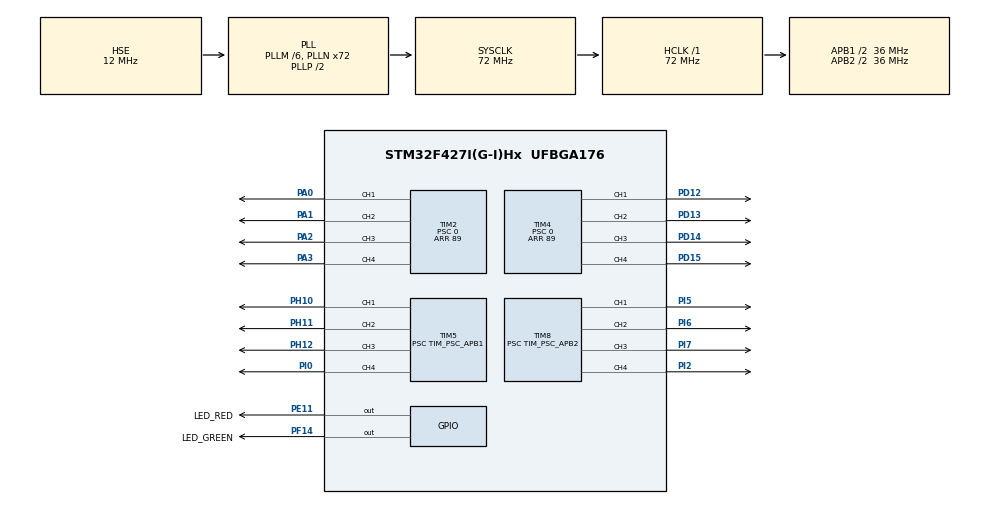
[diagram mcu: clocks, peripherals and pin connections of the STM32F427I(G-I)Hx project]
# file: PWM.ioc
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Dma.Request0=TIM2_CH1
Dma.Request1=TIM2_CH2/CH4
Dma.Request2=TIM2_UP/CH3
Dma.Request3=TIM4_CH1
Dma.Request4=TIM4_CH2
Dma.Request5=TIM4_CH3
Dma.TIM2_CH1.0.Direction=DMA_MEMORY_TO_PERIPH
Dma.TIM2_CH1.0.FIFOMode=DMA_FIFOMODE_DISABLE
Dma.TIM2_CH1.0.Instance=DMA1_Stream5
Dma.TIM2_CH1.0.MemDataAlignment=DMA_MDATAALIGN_WORD
Dma.TIM2_CH1.0.MemInc=DMA_MINC_ENABLE
Dma.TIM2_CH1.0.Mode=DMA_NORMAL
Dma.TIM2_CH1.0.PeriphDataAlignment=DMA_PDATAALIGN_WORD
Dma.TIM2_CH1.0.PeriphInc=DMA_PINC_DISABLE
Dma.TIM2_CH1.0.Priority=DMA_PRIORITY_HIGH
Dma.TIM2_CH2/CH4.1.Direction=DMA_MEMORY_TO_PERIPH
Dma.TIM2_CH2/CH4.1.FIFOMode=DMA_FIFOMODE_DISABLE
Dma.TIM2_CH2/CH4.1.Instance=DMA1_Stream6
Dma.TIM2_CH2/CH4.1.MemDataAlignment=DMA_MDATAALIGN_WORD
Dma.TIM2_CH2/CH4.1.MemInc=DMA_MINC_ENABLE
Dma.TIM2_CH2/CH4.1.Mode=DMA_NORMAL
Dma.TIM2_CH2/CH4.1.PeriphDataAlignment=DMA_PDATAALIGN_WORD
Dma.TIM2_CH2/CH4.1.PeriphInc=DMA_PINC_DISABLE
Dma.TIM2_CH2/CH4.1.Priority=DMA_PRIORITY_HIGH
Dma.TIM2_UP/CH3.2.Direction=DMA_MEMORY_TO_PERIPH
Dma.TIM2_UP/CH3.2.FIFOMode=DMA_FIFOMODE_DISABLE
Dma.TIM2_UP/CH3.2.Instance=DMA1_Stream1
Dma.TIM2_UP/CH3.2.MemDataAlignment=DMA_MDATAALIGN_WORD
Dma.TIM2_UP/CH3.2.MemInc=DMA_MINC_ENABLE
Dma.TIM2_UP/CH3.2.Mode=DMA_NORMAL
Dma.TIM2_UP/CH3.2.PeriphDataAlignment=DMA_PDATAALIGN_WORD
Dma.TIM2_UP/CH3.2.PeriphInc=DMA_PINC_DISABLE
Dma.TIM2_UP/CH3.2.Priority=DMA_PRIORITY_HIGH
Dma.TIM4_CH1.3.Direction=DMA_MEMORY_TO_PERIPH
Dma.TIM4_CH1.3.FIFOMode=DMA_FIFOMODE_DISABLE
Dma.TIM4_CH1.3.Instance=DMA1_Stream0
Dma.TIM4_CH1.3.MemDataAlignment=DMA_MDATAALIGN_WORD
Dma.TIM4_CH1.3.MemInc=DMA_MINC_ENABLE
Dma.TIM4_CH1.3.Mode=DMA_NORMAL
Dma.TIM4_CH1.3.PeriphDataAlignment=DMA_PDATAALIGN_WORD
Dma.TIM4_CH1.3.PeriphInc=DMA_PINC_DISABLE
Dma.TIM4_CH1.3.Priority=DMA_PRIORITY_LOW
Dma.TIM4_CH2.4.Direction=DMA_MEMORY_TO_PERIPH
Dma.TIM4_CH2.4.FIFOMode=DMA_FIFOMODE_DISABLE
Dma.TIM4_CH2.4.Instance=DMA1_Stream3
Dma.TIM4_CH2.4.MemDataAlignment=DMA_MDATAALIGN_WORD
Dma.TIM4_CH2.4.MemInc=DMA_MINC_ENABLE
Dma.TIM4_CH2.4.Mode=DMA_NORMAL
Dma.TIM4_CH2.4.PeriphDataAlignment=DMA_PDATAALIGN_WORD
Dma.TIM4_CH2.4.PeriphInc=DMA_PINC_DISABLE
Dma.TIM4_CH2.4.Priority=DMA_PRIORITY_LOW
Dma.TIM4_CH3.5.Direction=DMA_MEMORY_TO_PERIPH
Dma.TIM4_CH3.5.FIFOMode=DMA_FIFOMODE_DISABLE
Dma.TIM4_CH3.5.Instance=DMA1_Stream7
Dma.TIM4_CH3.5.MemDataAlignment=DMA_MDATAALIGN_WORD
Dma.TIM4_CH3.5.MemInc=DMA_MINC_ENABLE
Dma.TIM4_CH3.5.Mode=DMA_NORMAL
Dma.TIM4_CH3.5.PeriphDataAlignment=DMA_PDATAALIGN_WORD
Dma.TIM4_CH3.5.PeriphInc=DMA_PINC_DISABLE
Dma.TIM4_CH3.5.Priority=DMA_PRIORITY_LOW
Mcu.Family=STM32F4
Mcu.Name=STM32F427I(G-I)Hx
Mcu.Package=UFBGA176
Mcu.UserConstants=TIM_PSC_APB1,((APB1_TIMER_CLOCKS/PWM_FREQUENCE)/PWM_RESOLUTION -1);PWM_FREQUENCE,50;PWM_RESOLUTION,10000;APB1_TIMER_CLOCKS,84000000;PWM_DEFAULT_DUTY,5000;TIM_PSC_APB2,((APB2_TIMER_CLOCKS/PWM_FREQUENCE)/PWM_RESOLUTION -1);APB2_TIMER_CLOCKS,168000000
NVIC.DMA1_Stream0_IRQn=true\:0\:0\:false\:false\:true\:false\:true
NVIC.DMA1_Stream1_IRQn=true\:0\:0\:false\:false\:true\:false\:true
NVIC.DMA1_Stream3_IRQn=true\:0\:0\:false\:false\:true\:false\:true
NVIC.DMA1_Stream5_IRQn=true\:0\:0\:false\:false\:true\:false\:true
NVIC.DMA1_Stream6_IRQn=true\:0\:0\:false\:false\:true\:false\:true
NVIC.DMA1_Stream7_IRQn=true\:0\:0\:false\:false\:true\:false\:true
NVIC.PriorityGroup=NVIC_PRIORITYGROUP_4
PA0/WKUP.Signal=S_TIM2_CH1_ETR
PA1.Signal=S_TIM2_CH2
PA2.Signal=S_TIM2_CH3
PA3.Signal=S_TIM2_CH4
PD12.Signal=S_TIM4_CH1
PD13.Signal=S_TIM4_CH2
PD14.Signal=S_TIM4_CH3
PD15.Signal=S_TIM4_CH4
PE11.GPIO_Label=LED_RED
PE11.Signal=GPIO_Output
PF14.GPIO_Label=LED_GREEN
PF14.Signal=GPIO_Output
PH0/OSC_IN.Mode=HSE-External-Oscillator
PH0/OSC_IN.Signal=RCC_OSC_IN
PH1/OSC_OUT.Mode=HSE-External-Oscillator
PH1/OSC_OUT.Signal=RCC_OSC_OUT
PH10.Signal=S_TIM5_CH1
PH11.Signal=S_TIM5_CH2
PH12.Signal=S_TIM5_CH3
PI0.Signal=S_TIM5_CH4
PI2.Signal=S_TIM8_CH4
PI5.Signal=S_TIM8_CH1
PI6.Signal=S_TIM8_CH2
PI7.Signal=S_TIM8_CH3
ProjectManager.HeapSize=0x200
ProjectManager.StackSize=0x400
ProjectManager.TargetToolchain=MDK-ARM V5
RCC.48MHZClocksFreq_Value=36000000
RCC.AHBFreq_Value=72000000
RCC.APB1CLKDivider=RCC_HCLK_DIV2
RCC.APB1Freq_Value=36000000
RCC.APB1TimFreq_Value=72000000
RCC.APB2CLKDivider=RCC_HCLK_DIV2
RCC.APB2Freq_Value=36000000
RCC.APB2TimFreq_Value=72000000
RCC.CortexFreq_Value=72000000
RCC.HCLKFreq_Value=72000000
RCC.HSE_VALUE=12000000
RCC.HSI_VALUE=16000000
RCC.LSE_VALUE=32768
RCC.PLLM=6
RCC.PLLN=72
RCC.PLLSourceVirtual=RCC_PLLSOURCE_HSE
RCC.SYSCLKFreq_VALUE=72000000
RCC.SYSCLKSource=RCC_SYSCLKSOURCE_PLLCLK
RCC.VCOOutputFreq_Value=144000000
SH.S_TIM2_CH1_ETR.0=TIM2_CH1,PWM Generation1 CH1
SH.S_TIM2_CH2.0=TIM2_CH2,PWM Generation2 CH2
SH.S_TIM2_CH3.0=TIM2_CH3,PWM Generation3 CH3
SH.S_TIM2_CH4.0=TIM2_CH4,PWM Generation4 CH4
SH.S_TIM4_CH1.0=TIM4_CH1,PWM Generation1 CH1
SH.S_TIM4_CH2.0=TIM4_CH2,PWM Generation2 CH2
SH.S_TIM4_CH3.0=TIM4_CH3,PWM Generation3 CH3
SH.S_TIM4_CH4.0=TIM4_CH4,PWM Generation4 CH4
SH.S_TIM5_CH1.0=TIM5_CH1,PWM Generation1 CH1
SH.S_TIM5_CH2.0=TIM5_CH2,PWM Generation2 CH2
SH.S_TIM5_CH3.0=TIM5_CH3,PWM Generation3 CH3
SH.S_TIM5_CH4.0=TIM5_CH4,PWM Generation4 CH4
SH.S_TIM8_CH1.0=TIM8_CH1,PWM Generation1 CH1
SH.S_TIM8_CH2.0=TIM8_CH2,PWM Generation2 CH2
SH.S_TIM8_CH3.0=TIM8_CH3,PWM Generation3 CH3
SH.S_TIM8_CH4.0=TIM8_CH4,PWM Generation4 CH4
TIM2.Channel-PWM\ Generation1\ CH1=TIM_CHANNEL_1
TIM2.Channel-PWM\ Generation2\ CH2=TIM_CHANNEL_2
TIM2.Channel-PWM\ Generation3\ CH3=TIM_CHANNEL_3
TIM2.Channel-PWM\ Generation4\ CH4=TIM_CHANNEL_4
TIM2.Period=89
TIM2.Prescaler=0
TIM2.Pulse-PWM\ Generation1\ CH1=PWM_DEFAULT_DUTY
TIM2.Pulse-PWM\ Generation2\ CH2=PWM_DEFAULT_DUTY
TIM2.Pulse-PWM\ Generation3\ CH3=PWM_DEFAULT_DUTY
TIM2.Pulse-PWM\ Generation4\ CH4=PWM_DEFAULT_DUTY
TIM4.Channel-PWM\ Generation1\ CH1=TIM_CHANNEL_1
TIM4.Channel-PWM\ Generation2\ CH2=TIM_CHANNEL_2
TIM4.Channel-PWM\ Generation3\ CH3=TIM_CHANNEL_3
TIM4.Channel-PWM\ Generation4\ CH4=TIM_CHANNEL_4
TIM4.Period=89
TIM4.Prescaler=0
TIM4.Pulse-PWM\ Generation1\ CH1=PWM_DEFAULT_DUTY
TIM4.Pulse-PWM\ Generation2\ CH2=PWM_DEFAULT_DUTY
TIM4.Pulse-PWM\ Generation3\ CH3=PWM_DEFAULT_DUTY
TIM4.Pulse-PWM\ Generation4\ CH4=PWM_DEFAULT_DUTY
TIM5.Channel-PWM\ Generation1\ CH1=TIM_CHANNEL_1
TIM5.Channel-PWM\ Generation2\ CH2=TIM_CHANNEL_2
TIM5.Channel-PWM\ Generation3\ CH3=TIM_CHANNEL_3
TIM5.Channel-PWM\ Generation4\ CH4=TIM_CHANNEL_4
TIM5.Period=PWM_RESOLUTION-1
TIM5.Prescaler=TIM_PSC_APB1
TIM5.Pulse-PWM\ Generation1\ CH1=PWM_DEFAULT_DUTY
TIM5.Pulse-PWM\ Generation2\ CH2=PWM_DEFAULT_DUTY
TIM5.Pulse-PWM\ Generation3\ CH3=PWM_DEFAULT_DUTY
TIM5.Pulse-PWM\ Generation4\ CH4=PWM_DEFAULT_DUTY
TIM8.Channel-PWM\ Generation1\ CH1=TIM_CHANNEL_1
TIM8.Channel-PWM\ Generation2\ CH2=TIM_CHANNEL_2
TIM8.Channel-PWM\ Generation3\ CH3=TIM_CHANNEL_3
TIM8.Channel-PWM\ Generation4\ CH4=TIM_CHANNEL_4
TIM8.Period=PWM_RESOLUTION-1
TIM8.Prescaler=TIM_PSC_APB2
TIM8.Pulse-PWM\ Generation1\ CH1=PWM_DEFAULT_DUTY
TIM8.Pulse-PWM\ Generation2\ CH2=PWM_DEFAULT_DUTY
TIM8.Pulse-PWM\ Generation3\ CH3=PWM_DEFAULT_DUTY
TIM8.Pulse-PWM\ Generation4\ CH4=PWM_DEFAULT_DUTY
VP_TIM2_VS_ClockSourceINT.Mode=Internal
board=PWM

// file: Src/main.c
/* USER CODE BEGIN Header */
/**
  ******************************************************************************
  * @file           : main.c
  * @brief          : Main program body
  ******************************************************************************
  * @attention
  *
  * <h2><center>&copy; Copyright (c) 2023 STMicroelectronics.
  * All rights reserved.</center></h2>
  *
  * This software component is licensed by ST under BSD 3-Clause license,
  * the "License"; You may not use this file except in compliance with the
  * License. You may obtain a copy of the License at:
  *                        opensource.org/licenses/BSD-3-Clause
  *
  ******************************************************************************
  */
/* USER CODE END Header */
#include "main.h"
#include "dma.h"
#include "tim.h"
#include "gpio.h"
#include "fu.h"

/* USER CODE BEGIN Includes */
#include "2812B.h"
/* USER CODE END Includes */

/* USER CODE BEGIN PV */
/* Private variables ---------------------------------------------------------*/

/* USER CODE END PV */

void SystemClock_Config(void);
/* USER CODE BEGIN PFP */
/* Private function prototypes -----------------------------------------------*/

/* USER CODE END PFP */

/* USER CODE BEGIN 0 */
TIM_HandleTypeDef * WS2812B_htim;
uint32_t WS2812B_Channel;

void PWM_SetDuty(TIM_HandleTypeDef *tim,uint32_t tim_channel,float duty){

	switch(tim_channel){
		case TIM_CHANNEL_1: tim->Instance->CCR1 = (PWM_RESOLUTION*duty) - 1;break;
		case TIM_CHANNEL_2: tim->Instance->CCR2 = (PWM_RESOLUTION*duty) - 1;break;
		case TIM_CHANNEL_3: tim->Instance->CCR3 = (PWM_RESOLUTION*duty) - 1;break;
		case TIM_CHANNEL_4: tim->Instance->CCR4 = (PWM_RESOLUTION*duty) - 1;break;
	}

}

void WS2812B_Test(TIM_HandleTypeDef *htim, uint32_t Channel)
{
	// WS2812B_htim = htim;
	// WS2812B_Channel = Channel;
	// HAL_GPIO_TogglePin(GPIOF, LED_GREEN_Pin);
	// RGB_BLUE(600);
	// 	HAL_TIM_PWM_Start(htim, Channel);
	// __HAL_TIM_SetCompare(htim, Channel, 0);
	// HAL_Delay(100);
	// HAL_TIM_PWM_Stop(htim, Channel);
	// HAL_Delay(1);

  //   HAL_GPIO_TogglePin(GPIOF, LED_GREEN_Pin);
	// RGB_RED(600);
	// HAL_TIM_PWM_Start(htim, Channel);
	// __HAL_TIM_SetCompare(htim, Channel, 0);
	// HAL_Delay(100);
	// HAL_TIM_PWM_Stop(htim, Channel);
	// HAL_Delay(1);

	// HAL_GPIO_TogglePin(GPIOF, LED_GREEN_Pin);
	// RGB_GREEN(600);
	// HAL_TIM_PWM_Start(htim, Channel);
	// __HAL_TIM_SetCompare(htim, Channel, 0);
	// HAL_Delay(100);
	// HAL_TIM_PWM_Stop(htim, Channel);
	// HAL_Delay(1);
}

uint8_t State=0;

/* USER CODE END 0 */

int main(void)
{

  /* MCU Configuration--------------------------------------------------------*/

  /* Reset of all peripherals, Initializes the Flash interface and the Systick. */
  HAL_Init();

  /* Configure the system clock */
  SystemClock_Config();

  /* Initialize all configured peripherals */
  MX_GPIO_Init();
  MX_DMA_Init();
  MX_TIM2_Init();
  MX_TIM4_Init();
  MX_TIM5_Init();
  MX_TIM8_Init();
  /* USER CODE BEGIN 2 */
//	led_off();
//	/* Open 4 sets of PWM waves respectively */
//		/**TIM2 GPIO Configuration
	HAL_TIM_PWM_Start(&htim2,TIM_CHANNEL_1);
	HAL_TIM_PWM_Start(&htim2,TIM_CHANNEL_2);
	HAL_TIM_PWM_Start(&htim2,TIM_CHANNEL_3);
	HAL_TIM_PWM_Start(&htim2,TIM_CHANNEL_4);

	HAL_TIM_PWM_Start(&htim4,TIM_CHANNEL_1);
	HAL_TIM_PWM_Start(&htim4,TIM_CHANNEL_2);
	HAL_TIM_PWM_Start(&htim4,TIM_CHANNEL_3);
	HAL_TIM_PWM_Start(&htim4,TIM_CHANNEL_4);

  /* USER CODE END 2 */
	Part();
	All();
	All_Black();
  /* Infinite loop */
  while (1)
  {

    /* USER CODE BEGIN 3 */
	  if(State==0)
	  {
	  Fake_random();
	  }
//	  Text_Fu5();
  }
  /* USER CODE END 3 */
}

void SystemClock_Config(void)
{
  RCC_OscInitTypeDef RCC_OscInitStruct = {0};
  RCC_ClkInitTypeDef RCC_ClkInitStruct = {0};

  /** Configure the main internal regulator output voltage
  */
  __HAL_RCC_PWR_CLK_ENABLE();
  __HAL_PWR_VOLTAGESCALING_CONFIG(PWR_REGULATOR_VOLTAGE_SCALE3);
  /** Initializes the RCC Oscillators according to the specified parameters
  * in the RCC_OscInitTypeDef structure.
  */
  RCC_OscInitStruct.OscillatorType = RCC_OSCILLATORTYPE_HSE;
  RCC_OscInitStruct.HSEState = RCC_HSE_ON;
  RCC_OscInitStruct.PLL.PLLState = RCC_PLL_ON;
  RCC_OscInitStruct.PLL.PLLSource = RCC_PLLSOURCE_HSE;
  RCC_OscInitStruct.PLL.PLLM = 6;
  RCC_OscInitStruct.PLL.PLLN = 72;
  RCC_OscInitStruct.PLL.PLLP = RCC_PLLP_DIV2;
  RCC_OscInitStruct.PLL.PLLQ = 4;
  if (HAL_RCC_OscConfig(&RCC_OscInitStruct) != HAL_OK)
  {
    Error_Handler();
  }
  /** Initializes the CPU, AHB and APB buses clocks
  */
  RCC_ClkInitStruct.ClockType = RCC_CLOCKTYPE_HCLK|RCC_CLOCKTYPE_SYSCLK
                              |RCC_CLOCKTYPE_PCLK1|RCC_CLOCKTYPE_PCLK2;
  RCC_ClkInitStruct.SYSCLKSource = RCC_SYSCLKSOURCE_PLLCLK;
  RCC_ClkInitStruct.AHBCLKDivider = RCC_SYSCLK_DIV1;
  RCC_ClkInitStruct.APB1CLKDivider = RCC_HCLK_DIV2;
  RCC_ClkInitStruct.APB2CLKDivider = RCC_HCLK_DIV2;

  if (HAL_RCC_ClockConfig(&RCC_ClkInitStruct, FLASH_LATENCY_2) != HAL_OK)
  {
    Error_Handler();
  }
}

void Error_Handler(void)
{
  while(1)
  {
  }
}

/************************ (C) COPYRIGHT STMicroelectronics *****END OF FILE****/
